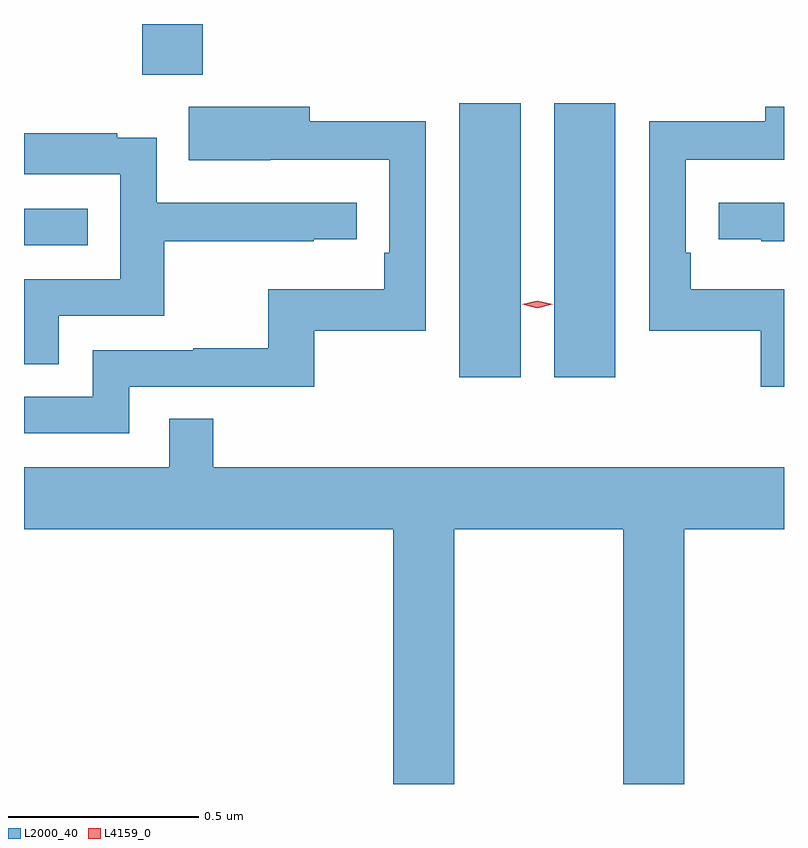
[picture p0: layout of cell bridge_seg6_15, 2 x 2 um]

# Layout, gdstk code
import gdstk
lib = gdstk.Library(unit=1e-6, precision=1e-09)
def R(c, l, rs):  # rectangles x0, y0, x1, y1
    for r in rs: c.add(gdstk.rectangle(r[:2], r[2:], *l))
def P(c, l, *ps):  # polygons
    for p in ps: c.add(gdstk.Polygon(p, *l))
L2000_40 = (2000, 40)
L4159_0 = (4159, 0)

bridge_seg6_15 = lib.new_cell('bridge_seg6_15')
R(bridge_seg6_15, L2000_40, [(990.947,930.42,991.108,931.141), (991.196,930.42,991.357,931.141), (989.801,930.768,989.969,930.864), (990.112,931.217,990.272,931.35)])
P(bridge_seg6_15, L2000_40, [(990.078,930.396),(990.565,930.396),(990.565,930.543),(990.858,930.543),(990.858,931.094),(990.553,931.094),(990.553,931.132),(990.235,931.132),(990.235,930.992),(990.449,930.992),(990.449,930.993),(990.762,930.993),(990.762,930.748),(990.749,930.748),(990.749,930.652),(990.444,930.652),(990.444,930.497),(990.247,930.497),(990.247,930.492),(989.982,930.492),(989.982,930.369),(989.801,930.369),(989.801,930.273),(990.078,930.273)],
  [(991.801,930.652),(991.556,930.652),(991.556,930.748),(991.542,930.748),(991.542,930.993),(991.801,930.993),(991.801,931.132),(991.751,931.132),(991.751,931.094),(991.446,931.094),(991.446,930.543),(991.74,930.543),(991.74,930.396),(991.801,930.396)],
  [(989.893,930.582),(990.17,930.582),(990.17,930.778),(990.563,930.778),(990.563,930.783),(990.676,930.783),(990.676,930.879),(990.15,930.879),(990.15,931.051),(990.047,931.051),(990.047,931.063),(989.801,931.063),(989.801,930.954),(990.054,930.954),(990.054,930.678),(989.801,930.678),(989.801,930.454),(989.893,930.454)],
  [(991.801,930.879),(991.629,930.879),(991.629,930.783),(991.741,930.783),(991.741,930.778),(991.801,930.778)],
  [(990.933,930.02),(991.378,930.02),(991.378,929.35),(991.538,929.35),(991.538,930.02),(991.801,930.02),(991.801,930.184),(990.299,930.184),(990.299,930.311),(990.183,930.311),(990.183,930.184),(989.801,930.184),(989.801,930.02),(990.773,930.02),(990.773,929.35),(990.933,929.35)])
P(bridge_seg6_15, L4159_0, [(991.152,930.602),(991.112,930.612),(991.112,930.612),(991.112,930.612),(991.152,930.622),(991.192,930.612),(991.192,930.612),(991.192,930.612)])

lib.write_gds('bridge_seg6_15.gds')
